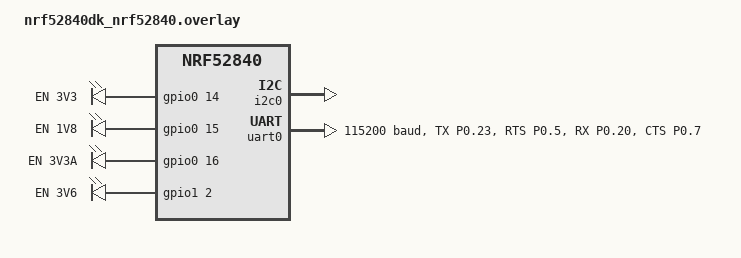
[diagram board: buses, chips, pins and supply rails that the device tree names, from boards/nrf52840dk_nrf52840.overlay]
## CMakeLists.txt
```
# SPDX-License-Identifier: Apache-2.0

cmake_minimum_required(VERSION 3.20.0)

find_package(Zephyr REQUIRED HINTS $ENV{ZEPHYR_BASE})
project(eeprom)

target_sources(app PRIVATE src/main.c)
target_sources(app PRIVATE src/power_ctrl.c)
target_include_directories(app PRIVATE src)

# find_package(PowerCtrl REQUIRED)
# target_link_libraries(app PRIVATE PowerCtrl)
```

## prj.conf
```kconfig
# ==========================
# GPIO configuration
# ==========================
CONFIG_GPIO=y

# ==========================
# I2C configuration
# ==========================
CONFIG_I2C=y
CONFIG_I2C_NRFX=y
CONFIG_I2C_SHELL=y
# ==========================
# UART / Serial console
# ==========================
CONFIG_SERIAL=y
CONFIG_CONSOLE=y
CONFIG_UART_CONSOLE=y

# (Optional) Enable line control features (e.g. for USB CDC ACM)
# CONFIG_UART_LINE_CTRL=y

# ==========================
# Zephyr shell configuration
# ==========================
CONFIG_SHELL=y
CONFIG_SHELL_BACKEND_SERIAL=y

# Custom shell prompt
CONFIG_SHELL_PROMPT_UART="shell> "

# (Optional but recommended for larger commands)
CONFIG_SHELL_STACK_SIZE=4096

# ==========================
# Logging
# ==========================
CONFIG_LOG=y
CONFIG_LOG_DEFAULT_LEVEL=3
```

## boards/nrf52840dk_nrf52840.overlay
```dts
/*
 * Custom overlay for nRF52840-based board
 * Enables I2C0 and UART0 (for shell)
 */

/ {
	enables {
		compatible = "gpio-leds";

		en3v3: en3v3 {
			gpios = <&gpio0 14 GPIO_ACTIVE_HIGH>;
			label = "EN 3V3";
		};

		en1v8: en1v8 {
			gpios = <&gpio0 15 GPIO_ACTIVE_HIGH>;
			label = "EN 1V8";
		};

		en3v3a: en3v3a {
			gpios = <&gpio0 16 GPIO_ACTIVE_HIGH>;
			label = "EN 3V3A";
		};

		en3v6: en3v6 {
			gpios = <&gpio1 2 GPIO_ACTIVE_HIGH>;
			label = "EN 3V6";
		};
	};
};

&i2c0 {
    compatible = "nordic,nrf-twi";
    status = "okay";

    pinctrl-0 = <&i2c0_default>;
    pinctrl-1 = <&i2c0_sleep>;
    pinctrl-names = "default", "sleep";
};

/* ---------- PINCTRL configuration ---------- */
&pinctrl {
    uart0_default: uart0_default {
        group1 {
            psels = <NRF_PSEL(UART_TX, 0, 23)>,
                    <NRF_PSEL(UART_RTS, 0, 5)>;
        };
        group2 {
            psels = <NRF_PSEL(UART_RX, 0, 20)>,
                    <NRF_PSEL(UART_CTS, 0, 7)>;
            bias-pull-up;
        };
    };

    uart0_sleep: uart0_sleep {
        group1 {
            psels = <NRF_PSEL(UART_TX, 0, 23)>,
                    <NRF_PSEL(UART_RX, 0, 20)>,
                    <NRF_PSEL(UART_RTS, 0, 5)>,
                    <NRF_PSEL(UART_CTS, 0, 7)>;
            low-power-enable;
        };
    };
};

/* ---------- UART configuration ---------- */
&uart0 {
    compatible = "nordic,nrf-uarte";
    status = "okay";
    current-speed = <115200>;

    /* Link pinctrl groups */
    pinctrl-0 = <&uart0_default>;
    pinctrl-1 = <&uart0_sleep>;
    pinctrl-names = "default", "sleep";

    /* Optional: disable HW flow control if not used */
    // hw-flow-control;
};
```

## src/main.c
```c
/*
 * Copyright (c) 2024 Open Pixel Systems
 *
 * SPDX-License-Identifier: Apache-2.0
 */

#include <zephyr/drivers/i2c.h>
#include <zephyr/kernel.h>
#include <zephyr/logging/log.h>
#include <zephyr/sys/printk.h>

#include "power_ctrl.h"

LOG_MODULE_REGISTER(main, LOG_LEVEL_DBG);

#define EEPROM_ADDR 0x56
#define EEPROM_PAGE_SIZE 128

static const struct device *i2c_dev = DEVICE_DT_GET(DT_NODELABEL(i2c0));

int eeprom_write_byte(const struct device *i2c, uint8_t addr, uint16_t mem_addr,
                      uint8_t data) {
  uint8_t write_buf[3];

  // 24AA512 uses 16-bit addressing
  write_buf[0] = (mem_addr >> 8) & 0xFF; // High byte of address
  write_buf[1] = mem_addr & 0xFF;        // Low byte of address
  write_buf[2] = data;

  return i2c_write(i2c, write_buf, 3, addr);
}

int eeprom_read_byte(const struct device *i2c, uint8_t addr, uint16_t mem_addr,
                     uint8_t *data) {
  uint8_t addr_buf[2];

  // Set the memory address
  addr_buf[0] = (mem_addr >> 8) & 0xFF; // High byte of address
  addr_buf[1] = mem_addr & 0xFF;        // Low byte of address

  // Write address, then read data
  return i2c_write_read(i2c, addr, addr_buf, 2, data, 1);
}

int eeprom_write_page(const struct device *i2c, uint8_t addr, uint16_t mem_addr,
                      const uint8_t *data, uint8_t len) {
  uint8_t write_buf[2 + EEPROM_PAGE_SIZE];

  if (len > EEPROM_PAGE_SIZE) {
    return -EINVAL;
  }

  // 24AA512 uses 16-bit addressing
  write_buf[0] = (mem_addr >> 8) & 0xFF; // High byte of address
  write_buf[1] = mem_addr & 0xFF;        // Low byte of address

  // Copy data
  memcpy(&write_buf[2], data, len);

  return i2c_write(i2c, write_buf, 2 + len, addr);
}

int eeprom_read_range(const struct device *i2c, uint8_t addr,
                      uint16_t start_addr, uint8_t *data, uint16_t len) {
  uint8_t addr_buf[2];
  int ret;
  uint16_t bytes_read = 0;
  uint16_t chunk_size;

  // Set the starting memory address
  addr_buf[0] = (start_addr >> 8) & 0xFF; // High byte of address
  addr_buf[1] = start_addr & 0xFF;        // Low byte of address

  // Read data in chunks to avoid I2C buffer limitations
  while (bytes_read < len) {
    // Calculate chunk size (read up to 256 bytes at a time)
    chunk_size = (len - bytes_read > 256) ? 256 : (len - bytes_read);

    // Write address, then read data
    ret = i2c_write_read(i2c, addr, addr_buf, 2, &data[bytes_read], chunk_size);
    if (ret != 0) {
      return ret;
    }

    bytes_read += chunk_size;

    // Update address for next chunk
    start_addr += chunk_size;
    addr_buf[0] = (start_addr >> 8) & 0xFF;
    addr_buf[1] = start_addr & 0xFF;
  }

  return 0;
}

int eeprom_read_all(const struct device *i2c, uint8_t addr, uint8_t *data) {
  return eeprom_read_range(i2c, addr, 0x0000, data, 65536);
}

int main(void) {
  uint8_t write_data[] = "Jatan!";
  uint8_t read_data[sizeof(write_data)];
  int ret;

  printk("I2C EEPROM Master Sample\n");

  /* Initialize and enable all power rails first */
  ret = power_ctrl_init();
  if (ret != 0) {
    printk("Failed to initialize power control: %d\n", ret);
    return 0;
  }

  ret = power_ctrl_enable_all();
  if (ret != 0) {
    printk("Failed to enable power rails: %d\n", ret);
    return 0;
  }

  printk("Power rails enabled, continuing with initialization...\n");

  if (!device_is_ready(i2c_dev)) {
    printk("I2C device not ready\n");
    return 0;
  }

  printk("I2C device ready\n");

  // Wait a bit for EEPROM to be ready
  k_msleep(10);

  // Write a single byte
  printk("Writing single byte to address 0x0000...\n");
  ret = eeprom_write_byte(i2c_dev, EEPROM_ADDR, 0x0000, 0xff);
  if (ret != 0) {
    printk("Failed to write byte: %d\n", ret);
  } else {
    printk("Byte written successfully\n");
  }

  // Wait for write to complete
  k_msleep(10);

  // Read the byte back
  printk("Reading byte from address 0x0000...\n");
  ret = eeprom_read_byte(i2c_dev, EEPROM_ADDR, 0x0000, read_data);
  if (ret != 0) {
    printk("Failed to read byte: %d\n", ret);
  } else {
    printk("Read byte: 0x%02X\n", read_data[0]);
  }

  // Write a page of data
  printk("Writing page to address 0x0100...\n");
  ret = eeprom_write_page(i2c_dev, EEPROM_ADDR, 0x0100, write_data,
                          sizeof(write_data));
  if (ret != 0) {
    printk("Failed to write page: %d\n", ret);
  } else {
    printk("Page written successfully\n");
  }

  // Wait for write to complete
  k_msleep(10);

  // Read the page back
  printk("Reading page from address 0x0100...\n");
  ret = eeprom_read_range(i2c_dev, EEPROM_ADDR, 0x0100, read_data,
                          sizeof(write_data));
  if (ret != 0) {
    printk("Failed to read page: %d\n", ret);
  } else {
    printk("Read data: %s\n", read_data);
  }

  printk("EEPROM test completed\n");

  printk("Scanning I2C bus...\n");

  for (uint8_t addr = 0x00; addr <= 0x77; addr++) {
    uint8_t dummy;
    int ret = i2c_read(i2c_dev, &dummy, 1, addr);
    if (ret == 0) {
      printk("Found device at 0x%02X\n", addr);
    }
    k_msleep(10);
  }

  printk("Scan complete.\n");
  return 0;
}
```

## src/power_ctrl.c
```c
#include "power_ctrl.h"

#include <zephyr/device.h>
#include <zephyr/devicetree.h>
#include <zephyr/drivers/gpio.h>
#include <zephyr/kernel.h>
#include <zephyr/logging/log.h>
#include <zephyr/sys/util.h>

LOG_MODULE_REGISTER(power_ctrl, LOG_LEVEL_INF);

#define EN3V3_NODE DT_NODELABEL(en3v3)
#define EN1V8_NODE DT_NODELABEL(en1v8)
#define EN3V3A_NODE DT_NODELABEL(en3v3a)
#define EN3V6_NODE DT_NODELABEL(en3v6)

static const struct gpio_dt_spec power_gpios[POWER_DOMAIN_COUNT] = {
    GPIO_DT_SPEC_GET_OR(EN3V3_NODE, gpios, {0}),
    GPIO_DT_SPEC_GET_OR(EN1V8_NODE, gpios, {0}),
    GPIO_DT_SPEC_GET_OR(EN3V3A_NODE, gpios, {0}),
    GPIO_DT_SPEC_GET_OR(EN3V6_NODE, gpios, {0}),
};

int power_ctrl_init(void) {
  int ret;

  for (int i = 0; i < POWER_DOMAIN_COUNT; i++) {
    if (!gpio_is_ready_dt(&power_gpios[i])) {
      LOG_ERR("Power GPIO %d device %s not ready", i,
              power_gpios[i].port->name);
      return -ENODEV;
    }

    ret = gpio_pin_configure_dt(&power_gpios[i], GPIO_OUTPUT_INACTIVE);
    if (ret != 0) {
      LOG_ERR("Failed to configure power GPIO %d", i);
      return ret;
    }

    LOG_INF("Initialized power GPIO %d on %s pin %d", i,
            power_gpios[i].port->name, power_gpios[i].pin);
  }

  return 0;
}

int power_ctrl_set(enum power_domain domain, bool enable) {
  if (domain < 0 || domain >= POWER_DOMAIN_COUNT) {
    return -EINVAL;
  }

  return gpio_pin_set_dt(&power_gpios[domain], enable);
}

int power_ctrl_toggle(enum power_domain domain) {
  if (domain < 0 || domain >= POWER_DOMAIN_COUNT) {
    return -EINVAL;
  }

  return gpio_pin_toggle_dt(&power_gpios[domain]);
}

int power_ctrl_enable_all(void) {
  int ret;

  LOG_INF("Enabling all power rails...");

  /* Enable 3V3 first (main rail) */
  ret = power_ctrl_set(POWER_EN_3V3, true);
  if (ret != 0) {
    LOG_ERR("Failed to enable 3V3 rail");
    return ret;
  }
  k_msleep(5); /* Allow rail to stabilize */

  /* Enable 1V8 */
  ret = power_ctrl_set(POWER_EN_1V8, true);
  if (ret != 0) {
    LOG_ERR("Failed to enable 1V8 rail");
    return ret;
  }
  k_msleep(5);

  /* Enable 3V3A (analog) */
  ret = power_ctrl_set(POWER_EN_3V3A, true);
  if (ret != 0) {
    LOG_ERR("Failed to enable 3V3A rail");
    return ret;
  }
  k_msleep(5);

  /* Enable 3V6 */
  ret = power_ctrl_set(POWER_EN_3V6, true);
  if (ret != 0) {
    LOG_ERR("Failed to enable 3V6 rail");
    return ret;
  }
  k_msleep(10); /* Final stabilization delay */

  LOG_INF("All power rails enabled");
  return 0;
}
```

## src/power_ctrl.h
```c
#ifndef POWER_CTRL_H
#define POWER_CTRL_H

#include <stdbool.h>

enum power_domain {
  POWER_EN_3V3 = 0,
  POWER_EN_1V8,
  POWER_EN_3V3A,
  POWER_EN_3V6,
  POWER_DOMAIN_COUNT,
};

int power_ctrl_init(void);
int power_ctrl_set(enum power_domain domain, bool enable);
int power_ctrl_toggle(enum power_domain domain);
int power_ctrl_enable_all(void);

#endif /* POWER_CTRL_H */
```
